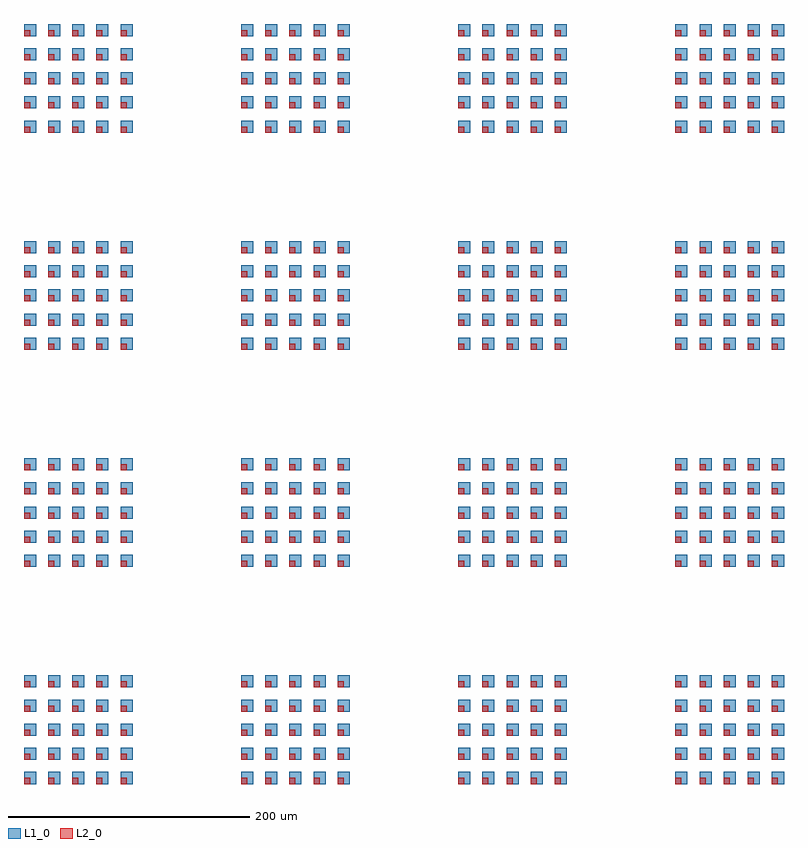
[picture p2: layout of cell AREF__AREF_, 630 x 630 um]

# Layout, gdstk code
import gdstk
lib = gdstk.Library(unit=1e-6, precision=1e-09)
def R(c, l, rs):  # rectangles x0, y0, x1, y1
    for r in rs: c.add(gdstk.rectangle(r[:2], r[2:], *l))
L1_0 = (1, 0)
L2_0 = (2, 0)

box = lib.new_cell('box')
R(box, L1_0, [(-5,-5,5,5)])
R(box, L2_0, [(-5,-5,0,0)])

aref = lib.new_cell('AREF')
r = gdstk.Reference(box, (0,0)); r.repetition = gdstk.Repetition(5, 5, v1=(20,0), v2=(0,20)); aref.add(r)

aref__aref_ = lib.new_cell('AREF__AREF_')
r = gdstk.Reference(aref, (0,0)); r.repetition = gdstk.Repetition(4, 4, v1=(180,0), v2=(0,180)); aref__aref_.add(r)

lib.write_gds('AREF__AREF_.gds')
